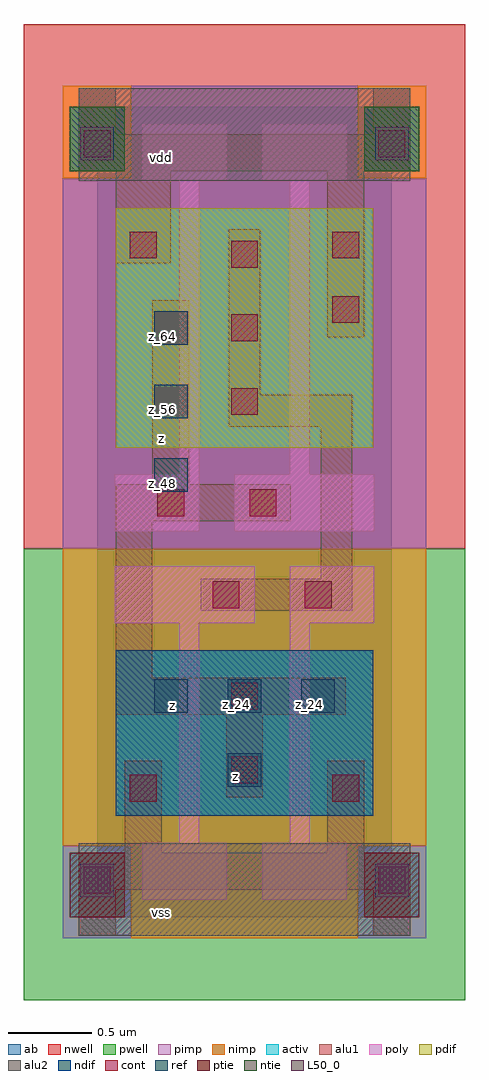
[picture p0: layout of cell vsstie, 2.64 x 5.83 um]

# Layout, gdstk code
import gdstk
lib = gdstk.Library(unit=1e-6, precision=2.5e-09)
def R(c, l, rs):  # rectangles x0, y0, x1, y1
    for r in rs: c.add(gdstk.rectangle(r[:2], r[2:], *l))
def A(c, l, x, y, w, h, nx, ny, dx, dy):  # array of equal rectangles
    R(c, l, [(x+i*dx, y+j*dy, x+i*dx+w, y+j*dy+h) for i in range(nx) for j in range(ny)])
ndif = (3, 0)
pdif = (4, 0)
ntie = (5, 0)
ptie = (6, 0)
ref = (24, 0)
cont = (25, 0)
pwell = (41, 0)
nwell = (42, 0)
activ = (43, 0)
pimp = (44, 0)
nimp = (45, 0)
poly = (46, 0)
alu1 = (49, 0)
L50_0 = (50, 0)
alu2 = (51, 0)
ab = (63, 0)

vsstie = lib.new_cell('vsstie')
R(vsstie, ndif, [(0.11,0.605,1.65,1.595)])
R(vsstie, pdif, [(0.11,2.805,1.65,4.235)])
R(vsstie, ntie, [(-0.165,4.455,0.165,4.84), (1.595,4.455,1.925,4.84)])
R(vsstie, ptie, [(-0.165,0,0.165,0.385), (1.595,0,1.925,0.385)])
A(vsstie, ref, 0.34, 1.22, 0.2, 0.2, 3, 1, 0.44, 0)
A(vsstie, ref, 0.34, 2.54, 0.2, 0.2, 1, 3, 0, 0.44)
R(vsstie, ref, [(0.78,0.78,0.98,0.98)])
A(vsstie, cont, 0.8, 3, 0.16, 0.16, 1, 3, 0, 0.44)
R(vsstie, cont, [(-0.08,0.14,0.08,0.3), (1.68,0.14,1.84,0.3), (0.195,0.69,0.355,0.85), (1.405,0.69,1.565,0.85), (0.8,0.8,0.96,0.96), (0.8,1.24,0.96,1.4), (0.69,1.845,0.85,2.005), (1.24,1.845,1.4,2.005), (0.36,2.395,0.52,2.555), (0.91,2.395,1.07,2.555), (1.405,3.55,1.565,3.71), (0.195,3.935,0.355,4.095), (1.405,3.935,1.565,4.095), (-0.08,4.54,0.08,4.7), (1.68,4.54,1.84,4.7)])
R(vsstie, pwell, [(-0.44,-0.495,2.2,2.2)])
R(vsstie, nwell, [(-0.44,2.2,2.2,5.335)])
R(vsstie, activ, [(-0.165,0,0.165,0.385), (1.595,0,1.925,0.385), (0.11,0.605,1.65,1.595), (0.11,2.805,1.65,4.235), (-0.165,4.455,0.165,4.84), (1.595,4.455,1.925,4.84)])
R(vsstie, pimp, [(-0.205,-0.125,0.205,0.425), (1.555,-0.125,1.965,0.425), (-0.205,2.2,1.965,4.415), (0.205,4.415,1.555,4.965)])
R(vsstie, nimp, [(0.205,-0.125,1.555,0.425), (-0.205,0.425,1.965,2.2), (-0.205,4.415,0.205,4.965), (1.555,4.415,1.965,4.965)])
R(vsstie, poly, [(0.27,0.105,0.775,0.445), (0.985,0.105,1.49,0.445), (0.49,0.445,0.61,1.755), (1.15,0.445,1.27,1.755), (0.105,1.755,0.94,2.095), (1.15,1.755,1.655,2.095), (0.105,2.305,0.61,2.645), (0.82,2.305,1.655,2.645), (0.49,2.645,0.61,4.395), (1.15,2.645,1.27,4.395), (0.27,4.395,0.775,4.735), (0.985,4.395,1.49,4.735)])
R(vsstie, alu1, [(-0.11,-0.11,0.11,0.165), (1.65,-0.11,1.87,0.165), (-0.11,0.165,1.87,0.385), (0.165,0.385,0.385,0.935), (1.375,0.385,1.595,0.935), (0.77,0.715,0.99,1.21), (0.11,1.21,1.485,1.43), (0.11,1.43,0.33,2.365), (0.62,1.83,1.525,2.02), (1.335,2.02,1.525,2.93), (0.11,2.365,1.155,2.585), (0.33,2.585,0.55,3.685), (0.785,2.93,1.525,3.12), (0.785,3.12,0.975,4.11), (1.375,3.465,1.595,4.455), (0.11,3.905,0.44,4.455), (-0.11,4.455,1.87,4.675), (-0.11,4.675,0.11,4.95), (1.65,4.675,1.87,4.95)])
R(vsstie, L50_0, [(-0.1,0.12,0.1,0.32), (1.66,0.12,1.86,0.32), (-0.1,4.52,0.1,4.72), (1.66,4.52,1.86,4.72)])
R(vsstie, alu2, [(-0.11,-0.11,1.87,0.44), (-0.11,4.4,1.87,4.95)])
R(vsstie, ab, [(0,0,1.76,4.84)])
vsstie.add(gdstk.Label('z', (0.825,0.8375), layer=49, texttype=0))
vsstie.add(gdstk.Label('z', (0.4525,1.265), layer=49, texttype=0))
vsstie.add(gdstk.Label('z', (0.385,2.86), layer=49, texttype=0))
vsstie.add(gdstk.Label('vss', (0.385,0.0275), layer=51, texttype=0))
vsstie.add(gdstk.Label('vdd', (0.385,4.5375), layer=51, texttype=0))
vsstie.add(gdstk.Label('z_64', (0.39,3.47), layer=24, texttype=0))
vsstie.add(gdstk.Label('z_48', (0.39,2.59), layer=24, texttype=0))
vsstie.add(gdstk.Label('z_16', (0.83,0.83), layer=24, texttype=0))
vsstie.add(gdstk.Label('z_24', (0.83,1.27), layer=24, texttype=0))
vsstie.add(gdstk.Label('z_24', (1.27,1.27), layer=24, texttype=0))
vsstie.add(gdstk.Label('z_24', (0.39,1.27), layer=24, texttype=0))
vsstie.add(gdstk.Label('z_56', (0.39,3.03), layer=24, texttype=0))

lib.write_gds('vsstie.gds')
